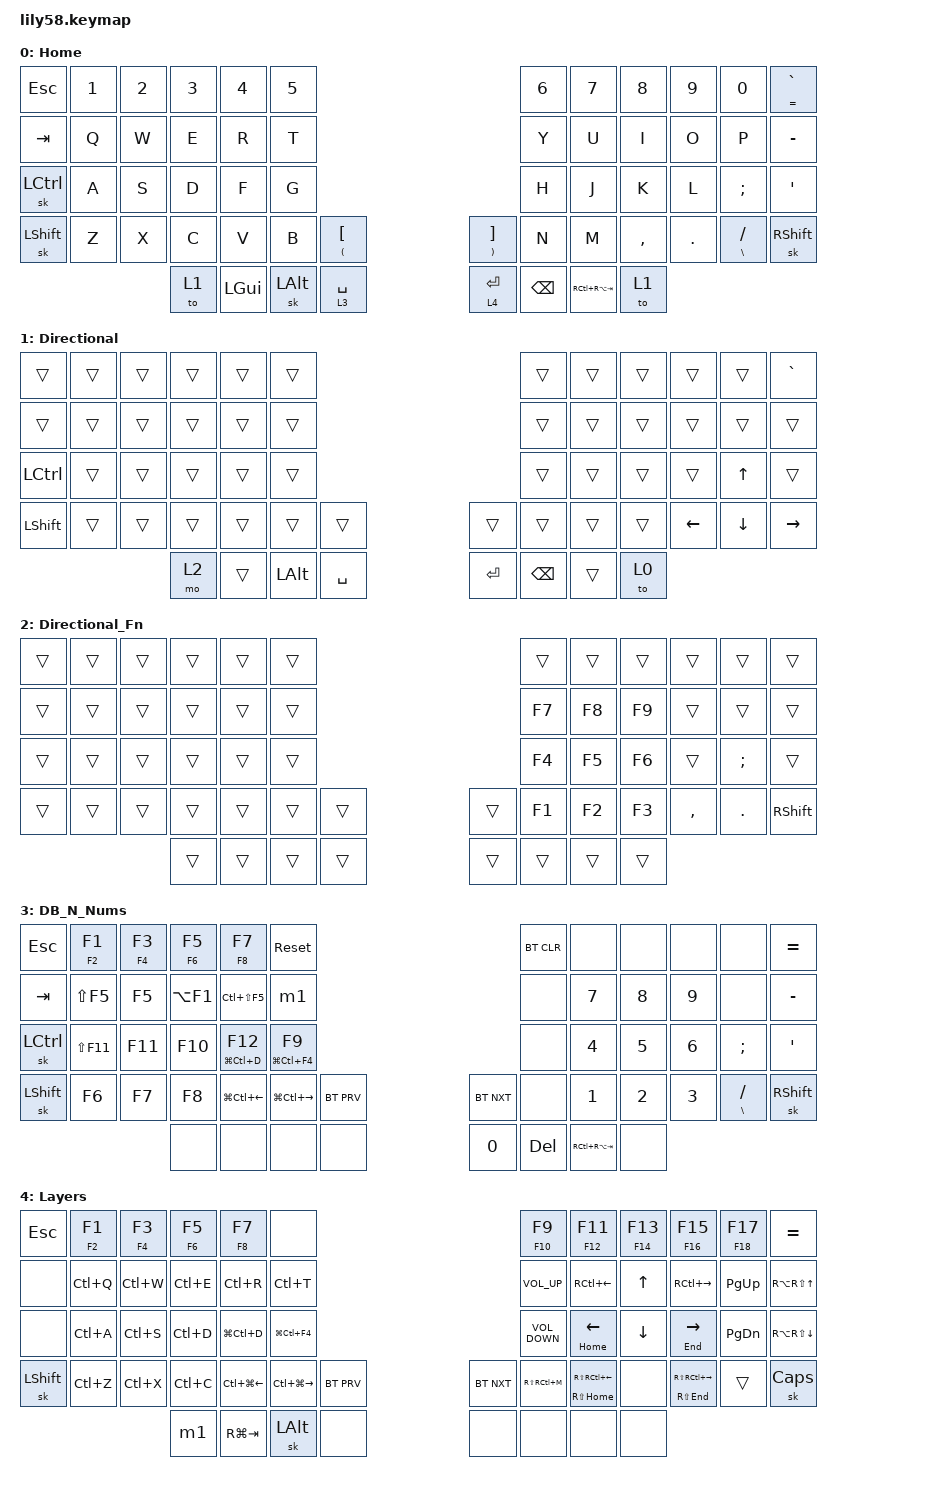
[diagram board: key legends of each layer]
/*
 * Copyright (c) 2020 The ZMK Contributors
 *
 * SPDX-License-Identifier: MIT
 */

#include <behaviors.dtsi>
#include <dt-bindings/zmk/bt.h>
#include <dt-bindings/zmk/keys.h>
#include <dt-bindings/zmk/pointing.h>

/ {
    macros {
        m1: m1 {
            compatible = "zmk,behavior-macro";
            #binding-cells = <0>;
            bindings = <&mkp MB1>, <&macro_wait_time 20>, <&m1>;

            label = "m1";
        };
    };

    keymap {
        compatible = "zmk,keymap";

        Home {
            bindings = <
&kp ESC    &kp N1  &kp N2  &kp N3  &kp N4    &kp N5                                                             &kp N6         &kp N7           &kp N8     &kp N9   &kp N0               &mt EQUAL GRAVE
&kp TAB    &kp Q   &kp W   &kp E   &kp R     &kp T                                                              &kp Y          &kp U            &kp I      &kp O    &kp P                &kp MINUS
&sk LCTRL  &kp A   &kp S   &kp D   &kp F     &kp G                                                              &kp H          &kp J            &kp K      &kp L    &kp SEMI             &kp SQT
&sk LSHFT  &kp Z   &kp X   &kp C   &kp V     &kp B     &mt LEFT_PARENTHESIS LBKT    &mt RIGHT_PARENTHESIS RBKT  &kp N          &kp M            &kp COMMA  &kp DOT  &mt BACKSLASH SLASH  &sk RSHFT
                           &to 1   &kp LGUI  &sk LALT  &lt 3 SPACE                  &lt 4 ENTER                 &kp BACKSPACE  &kp RC(RA(TAB))  &to 1
            >;
        };

        Directional {
            // ------------------------------------------------------------------------------------------------------------
            // |  ESC  |  1  |  2  |  3   |  4   |  5   |                   |  6   |  7    |  8    |  9   |   0   |   `   |
            // |  TAB  |  Q  |  W  |  E   |  R   |  T   |                   |  Y   |  U    |  I    |  O   |   P   |   -   |
            // |  CTRL |  A  |  S  |  D   |  F   |  G   |                   |  H   |  J    |  K    |  L   |   ;   |   '   |
            // | SHIFT |  Z  |  X  |  C   |  V   |  B   |   "["  |  |  "]"  |  N   |  M    |  ,    |  .   |   /   | SHIFT |
            //                     | ALT  | GUI  | LOWER|  SPACE |  | ENTER | RAISE| BSPC  | GUI   |

            bindings = <
&trans     &trans  &trans  &trans  &trans  &trans                            &trans         &trans  &trans  &trans    &trans    &kp GRAVE
&trans     &trans  &trans  &trans  &trans  &trans                            &trans         &trans  &trans  &trans    &trans    &trans
&kp LCTRL  &trans  &trans  &trans  &trans  &trans                            &trans         &trans  &trans  &trans    &kp UP    &trans
&kp LSHFT  &trans  &trans  &trans  &trans  &trans    &trans       &trans     &trans         &trans  &trans  &kp LEFT  &kp DOWN  &kp RIGHT
                           &mo 2   &trans  &kp LALT  &kp SPACE    &kp ENTER  &kp BACKSPACE  &trans  &to 0
            >;
        };

        Directional_Fn {
            bindings = <
&trans  &trans  &trans  &trans  &trans  &trans                    &trans  &trans  &trans  &trans     &trans    &trans
&trans  &trans  &trans  &trans  &trans  &trans                    &kp F7  &kp F8  &kp F9  &trans     &trans    &trans
&trans  &trans  &trans  &trans  &trans  &trans                    &kp F4  &kp F5  &kp F6  &trans     &kp SEMI  &trans
&trans  &trans  &trans  &trans  &trans  &trans  &trans    &trans  &kp F1  &kp F2  &kp F3  &kp COMMA  &kp DOT   &kp RSHFT
                        &trans  &trans  &trans  &trans    &trans  &trans  &trans  &trans
            >;
        };

        DB_N_Nums {
            bindings = <
&kp ESC     &mt F2 F1    &mt F4 F3  &mt F6 F5   &mt F8 F7          &sys_reset                                   &bt BT_CLR  &none            &none   &none   &none                &kp EQUAL
&kp TAB     &kp LS(F5)   &kp F5     &kp LA(F1)  &kp LC(LS(F5))     &m1                                          &none       &kp N7           &kp N8  &kp N9  &none                &kp MINUS
&sk LCTRL   &kp LS(F11)  &kp F11    &kp F10     &mt LG(LC(D)) F12  &mt LG(LC(F4)) F9                            &none       &kp N4           &kp N5  &kp N6  &kp SEMI             &kp SQT
&sk LSHIFT  &kp F6       &kp F7     &kp F8      &kp LG(LC(LEFT))   &kp LG(LC(RIGHT))  &bt BT_PRV    &bt BT_NXT  &none       &kp N1           &kp N2  &kp N3  &mt BACKSLASH SLASH  &sk RSHIFT
                                    &none       &none              &none              &none         &kp N0      &kp DEL     &kp RC(RA(TAB))  &none
            >;
        };

        Layers {
            bindings = <
&kp ESC     &mt F2 F1  &mt F4 F3  &mt F6 F5  &mt F8 F7         &none                                        &mt F10 F9         &mt F12 F11                &mt F14 F13  &mt F16 F15                &mt F18 F17    &kp EQUAL
&none       &kp LC(Q)  &kp LC(W)  &kp LC(E)  &kp LC(R)         &kp LC(T)                                    &kp C_VOLUME_UP    &kp RC(LEFT)               &kp UP       &kp RC(RIGHT)              &kp PAGE_UP    &kp RA(RS(UP))
&none       &kp LC(A)  &kp LC(S)  &kp LC(D)  &kp LG(LC(D))     &kp LG(LC(F4))                               &kp C_VOLUME_DOWN  &mt HOME LEFT              &kp DOWN     &mt END RIGHT              &kp PAGE_DOWN  &kp RA(RS(DOWN))
&sk LSHIFT  &kp LC(Z)  &kp LC(X)  &kp LC(C)  &kp LC(LG(LEFT))  &kp LC(LG(RIGHT))  &bt BT_PRV    &bt BT_NXT  &kp RS(RC(M))      &mt RS(HOME) RS(RC(LEFT))  &none        &mt RS(END) RS(RC(RIGHT))  &trans         &sk CAPS
                                  &m1        &kp RG(TAB)       &sk LALT           &none         &none       &none              &none                      &none
            >;
        };
    };
};
